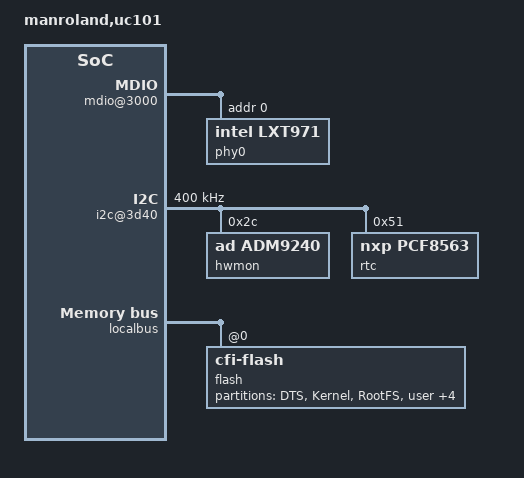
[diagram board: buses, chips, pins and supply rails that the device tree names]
/*
 * Manroland uc101 board Device Tree Source
 *
 * Copyright (C) 2009 DENX Software Engineering GmbH
 * Heiko Schocher <hs@denx.de>
 * Copyright 2006-2007 Secret Lab Technologies Ltd.
 *
 * This program is free software; you can redistribute  it and/or modify it
 * under  the terms of  the GNU General  Public License as published by the
 * Free Software Foundation;  either version 2 of the  License, or (at your
 * option) any later version.
 */

/include/ "mpc5200b.dtsi"

&gpt0 { gpio-controller; };
&gpt1 { gpio-controller; };
&gpt2 { gpio-controller; };
&gpt3 { gpio-controller; };
&gpt4 { gpio-controller; };
&gpt5 { gpio-controller; };
&gpt6 { gpio-controller; };
&gpt7 { gpio-controller; };

/ {
	model = "manroland,uc101";
	compatible = "manroland,uc101";

	soc5200@f0000000 {
		rtc@800 {
			status = "disabled";
		};

		can@900 {
			status = "disabled";
		};

		can@980 {
			status = "disabled";
		};

		spi@f00 {
			status = "disabled";
		};

		usb@1000 {
			status = "disabled";
		};

		psc@2000 {	// PSC1
			compatible = "fsl,mpc5200b-psc-uart","fsl,mpc5200-psc-uart";
		};

		psc@2200 {	// PSC2
			compatible = "fsl,mpc5200b-psc-uart","fsl,mpc5200-psc-uart";
		};

		psc@2400 {	// PSC3
			status = "disabled";
		};

		psc@2600 {	// PSC4
			status = "disabled";
		};

		psc@2800 {	// PSC5
			status = "disabled";
		};

		psc@2c00 {	// PSC6
			compatible = "fsl,mpc5200b-psc-uart","fsl,mpc5200-psc-uart";
		};

		ethernet@3000 {
			phy-handle = <&phy0>;
		};

		mdio@3000 {
			phy0: ethernet-phy@0 {
				compatible = "intel,lxt971";
				reg = <0>;
			};
		};

		i2c@3d00 {
			status = "disabled";
		};

		i2c@3d40 {
			fsl,preserve-clocking;
			clock-frequency = <400000>;

			hwmon@2c {
				compatible = "ad,adm9240";
				reg = <0x2c>;
			};
			rtc@51 {
				compatible = "nxp,pcf8563";
				reg = <0x51>;
			};
		};
	};

	pci@f0000d00 {
		status = "disabled";
	};

	localbus {
		ranges = <0 0 0xff800000 0x00800000
			  1 0 0x80000000 0x00800000
			  3 0 0x80000000 0x00800000>;

		flash@0,0 {
			compatible = "cfi-flash";
			reg = <0 0 0x00800000>;
			bank-width = <2>;
			device-width = <2>;
			#size-cells = <1>;
			#address-cells = <1>;

			partition@0 {
				label = "DTS";
				reg = <0x0 0x00100000>;
			};
			partition@100000 {
				label = "Kernel";
				reg = <0x100000 0x00200000>;
			};
			partition@300000 {
				label = "RootFS";
				reg = <0x00300000 0x00200000>;
			};
			partition@500000 {
				label = "user";
				reg = <0x00500000 0x00200000>;
			};
			partition@700000 {
				label = "U-Boot";
				reg = <0x00700000 0x00040000>;
			};
			partition@740000 {
				label = "Env";
				reg = <0x00740000 0x00010000>;
			};
			partition@750000 {
				label = "red. Env";
				reg = <0x00750000 0x00010000>;
			};
			partition@760000 {
				label = "reserve";
				reg = <0x00760000 0x000a0000>;
			};
		};

	};
};
